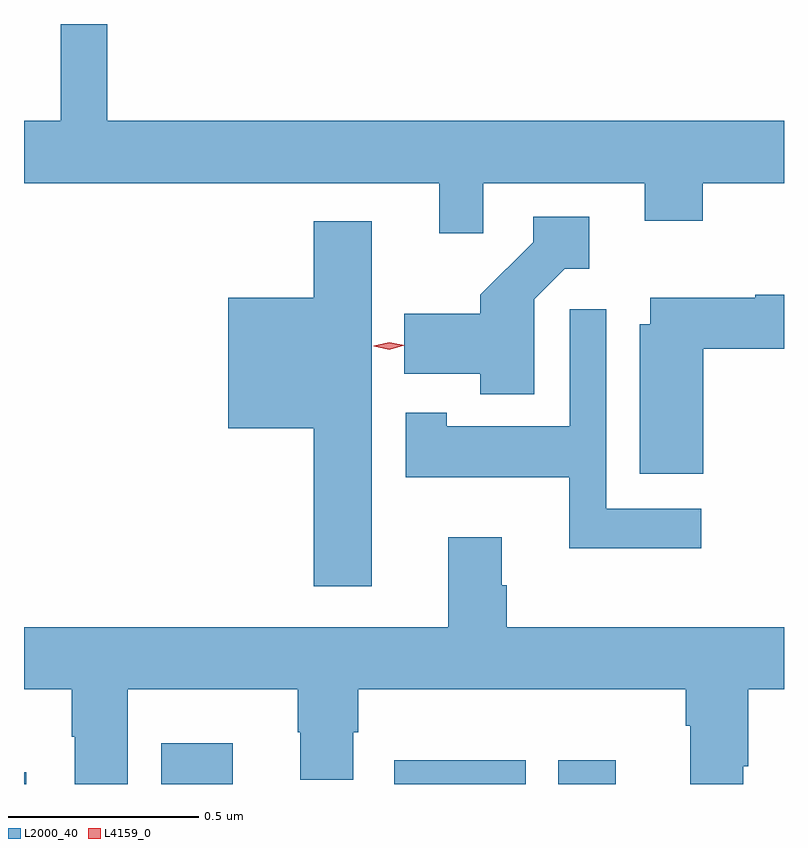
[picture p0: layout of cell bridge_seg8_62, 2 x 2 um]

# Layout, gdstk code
import gdstk
lib = gdstk.Library(unit=1e-6, precision=1e-09)
def R(c, l, rs):  # rectangles x0, y0, x1, y1
    for r in rs: c.add(gdstk.rectangle(r[:2], r[2:], *l))
def P(c, l, *ps):  # polygons
    for p in ps: c.add(gdstk.Polygon(p, *l))
L2000_40 = (2000, 40)
L4159_0 = (4159, 0)

bridge_seg8_62 = lib.new_cell('bridge_seg8_62')
R(bridge_seg8_62, L2000_40, [(1108.972,1109.591,1108.978,1109.622), (1109.333,1109.591,1109.521,1109.698), (1109.946,1109.591,1110.292,1109.654), (1110.378,1109.591,1110.529,1109.653)])
P(bridge_seg8_62, L2000_40, [(1110.18,1111.172),(1110.605,1111.172),(1110.605,1111.073),(1110.758,1111.073),(1110.758,1111.172),(1110.972,1111.172),(1110.972,1111.336),(1109.191,1111.336),(1109.191,1111.591),(1109.069,1111.591),(1109.069,1111.336),(1108.972,1111.336),(1108.972,1111.172),(1110.065,1111.172),(1110.065,1111.041),(1110.18,1111.041)],
  [(1110.315,1110.867),(1110.395,1110.947),(1110.46,1110.947),(1110.46,1111.084),(1110.312,1111.084),(1110.312,1111.017),(1110.173,1110.878),(1110.173,1110.829),(1109.972,1110.829),(1109.972,1110.671),(1110.173,1110.671),(1110.173,1110.617),(1110.315,1110.617)],
  [(1109.887,1111.072),(1109.735,1111.072),(1109.735,1110.871),(1109.51,1110.871),(1109.51,1110.527),(1109.735,1110.527),(1109.735,1110.111),(1109.887,1110.111)],
  [(1110.76,1110.737),(1110.972,1110.737),(1110.972,1110.879),(1110.896,1110.879),(1110.896,1110.871),(1110.62,1110.871),(1110.62,1110.801),(1110.593,1110.801),(1110.593,1110.408),(1110.76,1110.408)],
  [(1110.754,1110.316),(1110.504,1110.316),(1110.504,1110.84),(1110.408,1110.84),(1110.408,1110.532),(1110.085,1110.532),(1110.085,1110.568),(1109.976,1110.568),(1109.976,1110.398),(1110.407,1110.398),(1110.407,1110.212),(1110.754,1110.212)],
  [(1109.245,1109.84),(1109.692,1109.84),(1109.692,1109.727),(1109.699,1109.727),(1109.699,1109.602),(1109.839,1109.602),(1109.839,1109.727),(1109.852,1109.727),(1109.852,1109.84),(1110.713,1109.84),(1110.713,1109.744),(1110.725,1109.744),(1110.725,1109.591),(1110.865,1109.591),(1110.865,1109.638),(1110.878,1109.638),(1110.878,1109.84),(1110.972,1109.84),(1110.972,1110.004),(1110.242,1110.004),(1110.242,1110.114),(1110.229,1110.114),(1110.229,1110.241),(1110.089,1110.241),(1110.089,1110.004),(1108.972,1110.004),(1108.972,1109.84),(1109.098,1109.84),(1109.098,1109.716),(1109.105,1109.716),(1109.105,1109.591),(1109.245,1109.591)])
P(bridge_seg8_62, L4159_0, [(1109.933,1110.734),(1109.892,1110.743),(1109.892,1110.743),(1109.892,1110.744),(1109.933,1110.754),(1109.974,1110.745),(1109.974,1110.745),(1109.974,1110.745)])

lib.write_gds('bridge_seg8_62.gds')
